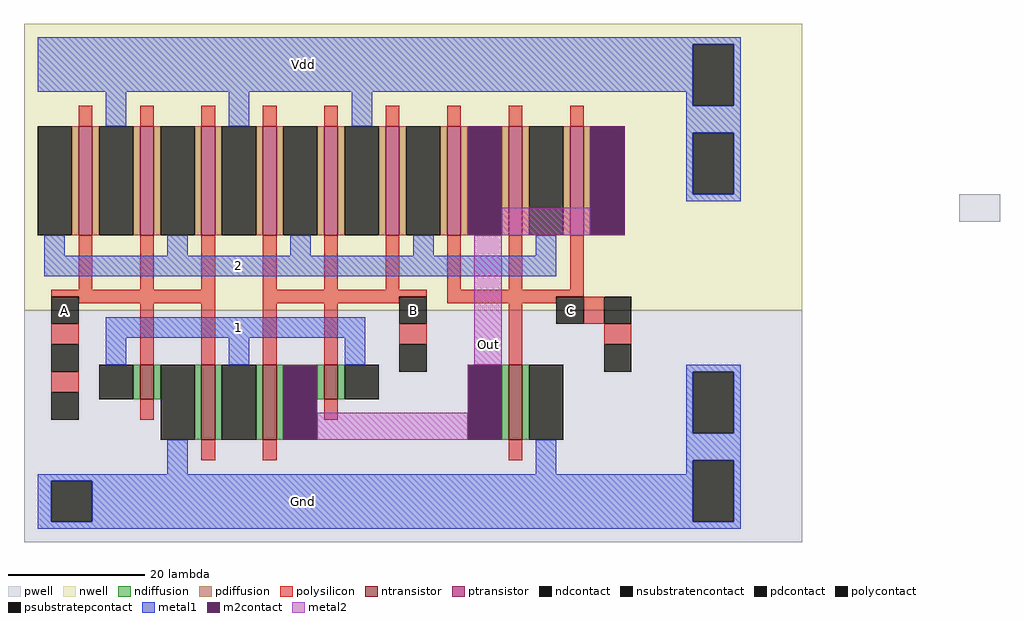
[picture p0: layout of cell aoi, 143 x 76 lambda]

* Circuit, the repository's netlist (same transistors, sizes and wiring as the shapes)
* SPICE3 file created from aoi.ext - technology: sample_6m

.option scale=0.09u

M1000 Vdd A a_n29_n14# Vdd pmos w=16 l=2
+ ad=352 pd=140 as=544 ps=228 
M1001 a_n29_n14# A Vdd Vdd pmos w=16 l=2
+ ad=0 pd=0 as=0 ps=0 
M1002 Vdd A a_n29_n14# Vdd pmos w=16 l=2
+ ad=0 pd=0 as=0 ps=0 
M1003 a_n29_n14# B Vdd Vdd pmos w=16 l=2
+ ad=0 pd=0 as=0 ps=0 
M1004 Vdd B a_n29_n14# Vdd pmos w=16 l=2
+ ad=0 pd=0 as=0 ps=0 
M1005 a_n29_n14# B Vdd Vdd pmos w=16 l=2
+ ad=0 pd=0 as=0 ps=0 
M1006 Out C a_n29_n14# Vdd pmos w=16 l=2
+ ad=208 pd=90 as=0 ps=0 
M1007 a_n29_n14# C Out Vdd pmos w=16 l=2
+ ad=0 pd=0 as=0 ps=0 
M1008 Out C a_n29_n14# Vdd pmos w=16 l=2
+ ad=0 pd=0 as=0 ps=0 
M1009 Gnd A a_n20_n38# Gnd nmos w=5 l=2
+ ad=137 pd=70 as=137 ps=80 
M1010 a_n20_n38# A Gnd Gnd nmos w=11 l=2
+ ad=0 pd=0 as=0 ps=0 
M1011 Out B a_n20_n38# Gnd nmos w=11 l=2
+ ad=137 pd=70 as=0 ps=0 
M1012 a_n20_n38# B Out Gnd nmos w=5 l=2
+ ad=0 pd=0 as=0 ps=0 
M1013 Gnd C Out Gnd nmos w=11 l=2
+ ad=0 pd=0 as=0 ps=0

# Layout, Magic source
magic
tech sample_6m
<< nwell >>
rect -31 -25 83 17
<< pwell >>
rect 106 -12 112 -8
rect -31 -59 83 -25
<< ntransistor >>
rect -14 -38 -12 -33
rect -5 -44 -3 -33
rect 4 -44 6 -33
rect 13 -38 15 -33
rect 40 -44 42 -33
<< ptransistor >>
rect -23 -14 -21 2
rect -14 -14 -12 2
rect -5 -14 -3 2
rect 4 -14 6 2
rect 13 -14 15 2
rect 22 -14 24 2
rect 31 -14 33 2
rect 40 -14 42 2
rect 49 -14 51 2
<< ndiffusion >>
rect -15 -38 -14 -33
rect -12 -38 -11 -33
rect -6 -44 -5 -33
rect -3 -44 -2 -33
rect 3 -44 4 -33
rect 6 -44 7 -33
rect 12 -38 13 -33
rect 15 -38 16 -33
rect 39 -44 40 -33
rect 42 -44 43 -33
<< pdiffusion >>
rect -24 -14 -23 2
rect -21 -14 -20 2
rect -15 -14 -14 2
rect -12 -14 -11 2
rect -6 -14 -5 2
rect -3 -14 -2 2
rect 3 -14 4 2
rect 6 -14 7 2
rect 12 -14 13 2
rect 15 -14 16 2
rect 21 -14 22 2
rect 24 -14 25 2
rect 30 -14 31 2
rect 33 -14 34 2
rect 39 -14 40 2
rect 42 -14 43 2
rect 48 -14 49 2
rect 51 -14 52 2
<< ndcontact >>
rect -20 -38 -15 -33
rect -11 -44 -6 -33
rect -2 -44 3 -33
rect 7 -44 12 -33
rect 16 -38 21 -33
rect 34 -44 39 -33
rect 43 -44 48 -33
<< pdcontact >>
rect -29 -14 -24 2
rect -20 -14 -15 2
rect -11 -14 -6 2
rect -2 -14 3 2
rect 7 -14 12 2
rect 16 -14 21 2
rect 25 -14 30 2
rect 34 -14 39 2
rect 43 -14 48 2
rect 52 -14 57 2
<< psubstratepcontact >>
rect 67 -43 73 -34
rect -27 -56 -21 -50
rect 67 -56 73 -47
<< nsubstratencontact >>
rect 67 5 73 14
rect 67 -8 73 1
<< polysilicon >>
rect -23 2 -21 5
rect -14 2 -12 5
rect -5 2 -3 5
rect 4 2 6 5
rect 13 2 15 5
rect 22 2 24 5
rect 31 2 33 5
rect 40 2 42 5
rect 49 2 51 5
rect -23 -22 -21 -14
rect -14 -22 -12 -14
rect -5 -22 -3 -14
rect -27 -23 -3 -22
rect -23 -24 -3 -23
rect -27 -30 -23 -27
rect -14 -33 -12 -24
rect -5 -33 -3 -24
rect 4 -22 6 -14
rect 13 -22 15 -14
rect 22 -22 24 -14
rect 31 -22 33 -14
rect 40 -22 42 -14
rect 49 -22 51 -14
rect 4 -23 28 -22
rect 4 -24 24 -23
rect 4 -33 6 -24
rect 13 -33 15 -24
rect 31 -23 51 -22
rect 31 -24 47 -23
rect 24 -30 28 -27
rect -27 -37 -23 -34
rect -14 -41 -12 -38
rect 40 -33 42 -24
rect 51 -27 54 -23
rect 54 -30 58 -27
rect 13 -41 15 -38
rect -5 -47 -3 -44
rect 4 -47 6 -44
rect 40 -47 42 -44
<< polycontact >>
rect -27 -27 -23 -23
rect -27 -34 -23 -30
rect 24 -27 28 -23
rect -27 -41 -23 -37
rect 24 -34 28 -30
rect 47 -27 51 -23
rect 54 -27 58 -23
rect 54 -34 58 -30
<< metal1 >>
rect -29 14 74 15
rect -29 7 67 14
rect -19 2 -16 7
rect -1 2 2 7
rect 17 2 20 7
rect 66 5 67 7
rect 73 5 74 14
rect 66 1 74 5
rect 66 -8 67 1
rect 73 -8 74 1
rect 66 -9 74 -8
rect -28 -17 -25 -14
rect -10 -17 -7 -14
rect 8 -17 11 -14
rect 26 -17 29 -14
rect 44 -17 47 -14
rect -28 -20 47 -17
rect -19 -29 19 -26
rect -19 -33 -16 -29
rect -1 -33 2 -29
rect 16 -33 19 -29
rect 66 -34 74 -33
rect 66 -43 67 -34
rect 73 -43 74 -34
rect -10 -49 -7 -44
rect 44 -49 47 -44
rect 66 -47 74 -43
rect 66 -49 67 -47
rect -29 -50 67 -49
rect -29 -56 -27 -50
rect -21 -56 67 -50
rect 73 -56 74 -47
rect -29 -57 74 -56
<< m2contact >>
rect 34 -14 39 2
rect 52 -14 57 2
rect 7 -44 12 -33
rect 34 -44 39 -33
<< metal2 >>
rect 39 -14 52 -10
rect 35 -33 39 -14
rect 12 -44 34 -40
<< labels >>
rlabel metal1 8 9 12 13 1 Vdd
rlabel polycontact -27 -27 -23 -23 1 A
rlabel metal1 8 -55 12 -51 1 Gnd
rlabel metal1 -1 -29 2 -26 1 1
rlabel metal1 -1 -20 2 -17 1 2
rlabel polycontact 47 -27 51 -23 1 C
rlabel metal2 35 -32 39 -28 1 Out
rlabel polycontact 24 -27 28 -23 1 B
<< end >>
